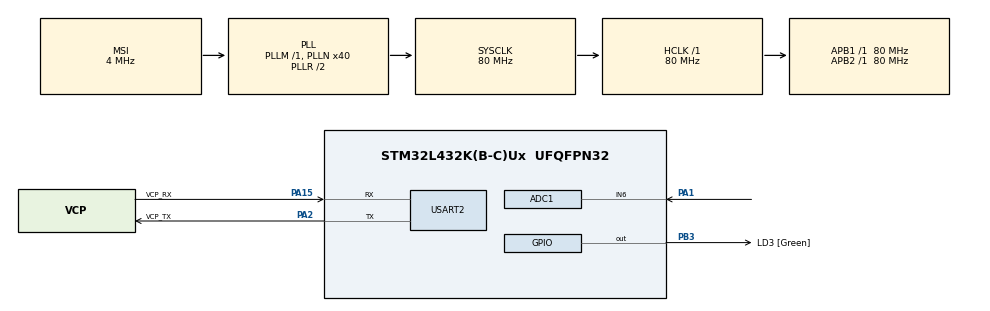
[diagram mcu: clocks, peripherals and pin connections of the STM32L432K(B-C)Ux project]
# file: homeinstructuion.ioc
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ADC1.Channel-0\#ChannelRegularConversion=ADC_CHANNEL_6
ADC1.ClockPrescaler=ADC_CLOCK_ASYNC_DIV16
ADC1.ContinuousConvMode=ENABLE
ADC1.NbrOfConversionFlag=1
ADC1.OffsetNumber-0\#ChannelRegularConversion=ADC_OFFSET_NONE
ADC1.Rank-0\#ChannelRegularConversion=1
ADC1.SamplingTime-0\#ChannelRegularConversion=ADC_SAMPLETIME_2CYCLES_5
ADC1.master=1
Mcu.Family=STM32L4
Mcu.Name=STM32L432K(B-C)Ux
Mcu.Package=UFQFPN32
NVIC.ADC1_IRQn=true\:0\:0\:false\:false\:true\:true\:true\:true
NVIC.PriorityGroup=NVIC_PRIORITYGROUP_4
PA0.GPIO_Label=MCO [High speed clock in]
PA0.Mode=HSE-External-Clock-Source-for-LittleOrca
PA0.Signal=RCC_CK_IN
PA1.Signal=ADCx_IN6
PA13\ (JTMS-SWDIO).GPIO_Label=SWDIO
PA13\ (JTMS-SWDIO).Mode=Serial_Wire
PA13\ (JTMS-SWDIO).Signal=SYS_JTMS-SWDIO
PA14\ (JTCK-SWCLK).GPIO_Label=SWCLK
PA14\ (JTCK-SWCLK).Mode=Serial_Wire
PA14\ (JTCK-SWCLK).Signal=SYS_JTCK-SWCLK
PA15\ (JTDI).GPIO_Label=VCP_RX
PA15\ (JTDI).Mode=Asynchronous
PA15\ (JTDI).Signal=USART2_RX
PA2.GPIO_Label=VCP_TX
PA2.Mode=Asynchronous
PA2.Signal=USART2_TX
PB3\ (JTDO-TRACESWO).GPIO_Label=LD3 [Green]
PB3\ (JTDO-TRACESWO).Signal=GPIO_Output
PC14-OSC32_IN\ (PC14).Mode=LSE-External-Oscillator
PC14-OSC32_IN\ (PC14).Signal=RCC_OSC32_IN
PC15-OSC32_OUT\ (PC15).Mode=LSE-External-Oscillator
PC15-OSC32_OUT\ (PC15).Signal=RCC_OSC32_OUT
ProjectManager.HeapSize=0x200
ProjectManager.StackSize=0x400
ProjectManager.TargetToolchain=STM32CubeIDE
RCC.ADCFreq_Value=32000000
RCC.AHBFreq_Value=80000000
RCC.APB1Freq_Value=80000000
RCC.APB1TimFreq_Value=80000000
RCC.APB2Freq_Value=80000000
RCC.APB2TimFreq_Value=80000000
RCC.CortexFreq_Value=80000000
RCC.HCLKFreq_Value=80000000
RCC.HSE_VALUE=8000000
RCC.HSI16_VALUE=16000000
RCC.HSI48_VALUE=48000000
RCC.HSI_VALUE=16000000
RCC.MSI_VALUE=4000000
RCC.PLLMUL=RCC_PLLMUL_4
RCC.PLLN=40
RCC.PLLSAI1N=16
RCC.SYSCLKFreq_VALUE=80000000
RCC.SYSCLKSource=RCC_SYSCLKSOURCE_PLLCLK
RCC.USBFreq_Value=32000000
RCC.VCOOutputFreq_Value=160000000
SH.ADCx_IN6.0=ADC1_IN6,IN6-Single-Ended
USART2.VirtualMode-Asynchronous=VM_ASYNC
board=NUCLEO-L432KC

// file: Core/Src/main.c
/* USER CODE BEGIN Header */

/**

  ******************************************************************************

  * @file           : main.c

  * @brief          : Main program body

  ******************************************************************************

  * @attention

  *

  * Copyright (c) 2024 STaudioroelectronics.

  * All rights reserved.

  *

  * This software is licensed under terms that can be found in the LICENSE file

  * in the root directory of this software component.

  * If no LICENSE file comes with this software, it is provided AS-IS.

  *

  ******************************************************************************

  */

/* USER CODE END Header */

#include "main.h"

/* USER CODE BEGIN Includes */

#include "stdio.h"

#include "string.h"

#include "knowledge.h"

#include "NanoEdgeAI.h"

/* USER CODE END Includes */

/* USER CODE BEGIN PD */

#define BUFFER_SIZE 256

#define AXIS        1

#define CONFIRMATIONS_NB   (uint32_t)(3)

/* USER CODE END PD */

ADC_HandleTypeDef hadc1;

UART_HandleTypeDef huart2;

/* USER CODE BEGIN PV */

float audio;

float audio_buffer[BUFFER_SIZE * AXIS] = {0};
float output_class_buffer[CLASS_NUMBER]; // Buffer of class probabilities
const char *id2class[CLASS_NUMBER + 1] = { // Buffer for mapping class id to class name
	"unknown",
	"dog_barking",
	"Glass_break",
	"door_breaking",
	"ambientnoise",
};

/* USER CODE END PV */

void SystemClock_Config(void);

static void MX_GPIO_Init(void);

static void MX_USART2_UART_Init(void);

static void MX_ADC1_Init(void);

/* USER CODE BEGIN PFP */

void Inference();

void fill_audio_buffer();

/* USER CODE END PFP */

/* USER CODE BEGIN 0 */

void HAL_ADC_ConvCpltCallback(ADC_HandleTypeDef *hadc){

	audio = HAL_ADC_GetValue(&hadc1);

}

/* USER CODE END 0 */

int main(void)

{

  /* MCU Configuration--------------------------------------------------------*/

  /* Reset of all peripherals, Initializes the Flash interface and the Systick. */

  HAL_Init();

  /* USER CODE BEGIN Init */

  enum neai_state error_code = neai_classification_init(knowledge);

   	if (error_code != NEAI_OK) {

   		/* This happens if the knowledge does not correspond to the library or if the library works into a not supported board. */

   	printf("Knowledge initialization ERROR");

   	printf("%d", error_code);

   	}

   	else

   	{

   		printf("Knowledge initialization done");

   	}

  /* USER CODE END Init */

  /* Configure the system clock */

  SystemClock_Config();

  /* Initialize all configured peripherals */

  MX_GPIO_Init();

  MX_USART2_UART_Init();

  MX_ADC1_Init();

  /* USER CODE BEGIN 2 */

HAL_ADC_Start_IT(&hadc1);

  /* USER CODE END 2 */

  /* Infinite loop */

  /* USER CODE BEGIN WHILE */

  while (1)

  {

	  Inference();

    /* USER CODE END WHILE */

  }

}

void SystemClock_Config(void)

{

  RCC_OscInitTypeDef RCC_OscInitStruct = {0};

  RCC_ClkInitTypeDef RCC_ClkInitStruct = {0};

  /** Configure the main internal regulator output voltage

  */

  if (HAL_PWREx_ControlVoltageScaling(PWR_REGULATOR_VOLTAGE_SCALE1) != HAL_OK)

  {

    Error_Handler();

  }

  /** Configure LSE Drive Capability

  */

  HAL_PWR_EnableBkUpAccess();

  __HAL_RCC_LSEDRIVE_CONFIG(RCC_LSEDRIVE_LOW);

  /** Initializes the RCC Oscillators according to the specified parameters

  * in the RCC_OscInitTypeDef structure.

  */

  RCC_OscInitStruct.OscillatorType = RCC_OSCILLATORTYPE_LSE|RCC_OSCILLATORTYPE_MSI;

  RCC_OscInitStruct.LSEState = RCC_LSE_ON;

  RCC_OscInitStruct.MSIState = RCC_MSI_ON;

  RCC_OscInitStruct.MSICalibrationValue = 0;

  RCC_OscInitStruct.MSIClockRange = RCC_MSIRANGE_6;

  RCC_OscInitStruct.PLL.PLLState = RCC_PLL_ON;

  RCC_OscInitStruct.PLL.PLLSource = RCC_PLLSOURCE_MSI;

  RCC_OscInitStruct.PLL.PLLM = 1;

  RCC_OscInitStruct.PLL.PLLN = 40;

  RCC_OscInitStruct.PLL.PLLP = RCC_PLLP_DIV7;

  RCC_OscInitStruct.PLL.PLLQ = RCC_PLLQ_DIV2;

  RCC_OscInitStruct.PLL.PLLR = RCC_PLLR_DIV2;

  if (HAL_RCC_OscConfig(&RCC_OscInitStruct) != HAL_OK)

  {

    Error_Handler();

  }

  /** Initializes the CPU, AHB and APB buses clocks

  */

  RCC_ClkInitStruct.ClockType = RCC_CLOCKTYPE_HCLK|RCC_CLOCKTYPE_SYSCLK

                              |RCC_CLOCKTYPE_PCLK1|RCC_CLOCKTYPE_PCLK2;

  RCC_ClkInitStruct.SYSCLKSource = RCC_SYSCLKSOURCE_PLLCLK;

  RCC_ClkInitStruct.AHBCLKDivider = RCC_SYSCLK_DIV1;

  RCC_ClkInitStruct.APB1CLKDivider = RCC_HCLK_DIV1;

  RCC_ClkInitStruct.APB2CLKDivider = RCC_HCLK_DIV1;

  if (HAL_RCC_ClockConfig(&RCC_ClkInitStruct, FLASH_LATENCY_4) != HAL_OK)

  {

    Error_Handler();

  }

  /** Enable MSI Auto calibration

  */

  HAL_RCCEx_EnableMSIPLLMode();

}

static void MX_ADC1_Init(void)

{

  ADC_ChannelConfTypeDef sConfig = {0};

  /** Common config

  */

  hadc1.Instance = ADC1;

  hadc1.Init.ClockPrescaler = ADC_CLOCK_ASYNC_DIV16;

  hadc1.Init.Resolution = ADC_RESOLUTION_12B;

  hadc1.Init.DataAlign = ADC_DATAALIGN_RIGHT;

  hadc1.Init.ScanConvMode = ADC_SCAN_DISABLE;

  hadc1.Init.EOCSelection = ADC_EOC_SINGLE_CONV;

  hadc1.Init.LowPowerAutoWait = DISABLE;

  hadc1.Init.ContinuousConvMode = ENABLE;

  hadc1.Init.NbrOfConversion = 1;

  hadc1.Init.DiscontinuousConvMode = DISABLE;

  hadc1.Init.ExternalTrigConv = ADC_SOFTWARE_START;

  hadc1.Init.ExternalTrigConvEdge = ADC_EXTERNALTRIGCONVEDGE_NONE;

  hadc1.Init.DMAContinuousRequests = DISABLE;

  hadc1.Init.Overrun = ADC_OVR_DATA_PRESERVED;

  hadc1.Init.OversamplingMode = DISABLE;

  if (HAL_ADC_Init(&hadc1) != HAL_OK)

  {

    Error_Handler();

  }

  /** Configure Regular Channel

  */

  sConfig.Channel = ADC_CHANNEL_6;

  sConfig.Rank = ADC_REGULAR_RANK_1;

  sConfig.SamplingTime = ADC_SAMPLETIME_2CYCLES_5;

  sConfig.SingleDiff = ADC_SINGLE_ENDED;

  sConfig.OffsetNumber = ADC_OFFSET_NONE;

  sConfig.Offset = 0;

  if (HAL_ADC_ConfigChannel(&hadc1, &sConfig) != HAL_OK)

  {

    Error_Handler();

  }

}

static void MX_USART2_UART_Init(void)

{

  huart2.Instance = USART2;

  huart2.Init.BaudRate = 115200;

  huart2.Init.WordLength = UART_WORDLENGTH_8B;

  huart2.Init.StopBits = UART_STOPBITS_1;

  huart2.Init.Parity = UART_PARITY_NONE;

  huart2.Init.Mode = UART_MODE_TX_RX;

  huart2.Init.HwFlowCtl = UART_HWCONTROL_NONE;

  huart2.Init.OverSampling = UART_OVERSAMPLING_16;

  huart2.Init.OneBitSampling = UART_ONE_BIT_SAMPLE_DISABLE;

  huart2.AdvancedInit.AdvFeatureInit = UART_ADVFEATURE_NO_INIT;

  if (HAL_UART_Init(&huart2) != HAL_OK)

  {

    Error_Handler();

  }

}

static void MX_GPIO_Init(void)

{

  GPIO_InitTypeDef GPIO_InitStruct = {0};

  /* GPIO Ports Clock Enable */

  __HAL_RCC_GPIOC_CLK_ENABLE();

  __HAL_RCC_GPIOA_CLK_ENABLE();

  __HAL_RCC_GPIOB_CLK_ENABLE();

  /*Configure GPIO pin Output Level */

  HAL_GPIO_WritePin(LD3_GPIO_Port, LD3_Pin, GPIO_PIN_RESET);

  /*Configure GPIO pin : LD3_Pin */

  GPIO_InitStruct.Pin = LD3_Pin;

  GPIO_InitStruct.Mode = GPIO_MODE_OUTPUT_PP;

  GPIO_InitStruct.Pull = GPIO_NOPULL;

  GPIO_InitStruct.Speed = GPIO_SPEED_FREQ_LOW;

  HAL_GPIO_Init(LD3_GPIO_Port, &GPIO_InitStruct);

}

/* USER CODE BEGIN 4 */

void fill_audio_buffer(){

	for(int i = 0; i < BUFFER_SIZE; i++){

		audio_buffer[i * AXIS] = audio;

		HAL_Delay(3);

	}

}

void Inference(){

	uint16_t i, id_class_t0, id_class_tn;

	fill_audio_buffer();

	neai_classification(audio_buffer, output_class_buffer, &id_class_t0);

	for(i=0; i<CONFIRMATIONS_NB-1; i++)

	{

		fill_audio_buffer();

		neai_classification(audio_buffer, output_class_buffer, &id_class_tn);

		if(id_class_t0 != id_class_tn)

		{

			break;

		}

		if(id_class_t0 == id_class_tn)

		{

			printf("Detected Class:");

			printf(id2class[id_class_t0]);

			printf("\r\n");

		}

		else

		{

			printf("?");

			printf("\r\n");

		}

	}

}

int __io_putchar(int ch){

	HAL_UART_Transmit(&huart2, (uint8_t *)&ch, 1, 0xFFFF);

	return ch;

}

/* USER CODE END 4 */

void Error_Handler(void)

{

  __disable_irq();
  while (1)
  {
  }

}
